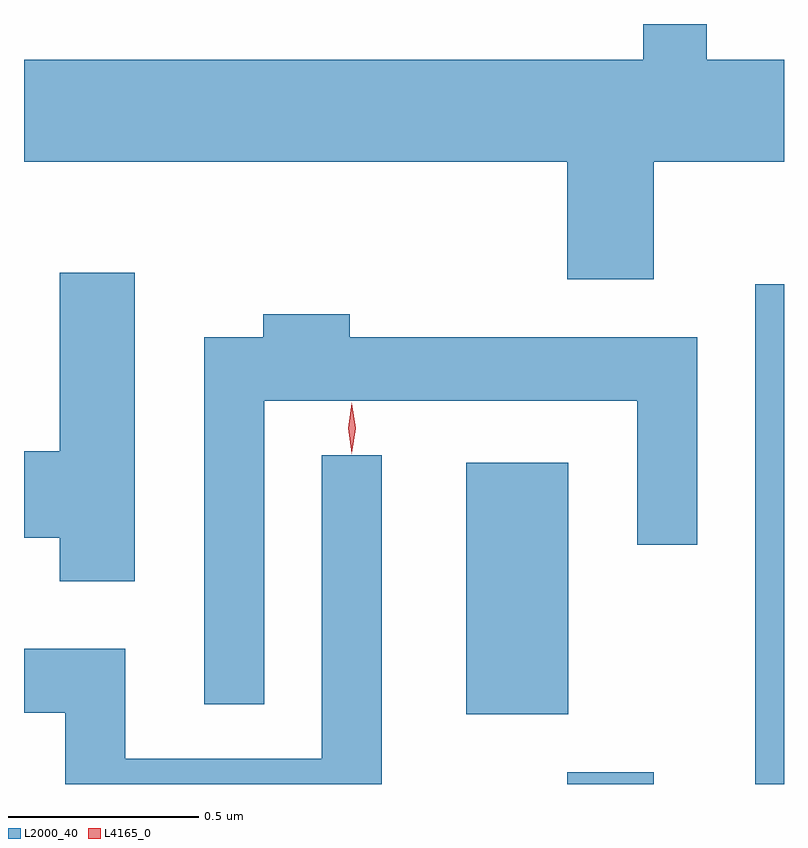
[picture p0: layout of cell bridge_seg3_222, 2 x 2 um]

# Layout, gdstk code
import gdstk
lib = gdstk.Library(unit=1e-6, precision=1e-09)
def R(c, l, rs):  # rectangles x0, y0, x1, y1
    for r in rs: c.add(gdstk.rectangle(r[:2], r[2:], *l))
def P(c, l, *ps):  # polygons
    for p in ps: c.add(gdstk.Polygon(p, *l))
L2000_40 = (2000, 40)
L4165_0 = (4165, 0)

bridge_seg3_222 = lib.new_cell('bridge_seg3_222')
R(bridge_seg3_222, L2000_40, [(917.781,1151.018,918.009,1151.049), (918.276,1151.018,918.352,1152.333), (917.516,1151.201,917.784,1151.864)])
P(bridge_seg3_222, L2000_40, [(918.009,1152.656),(918.352,1152.656),(918.352,1152.924),(918.149,1152.924),(918.149,1153.018),(917.981,1153.018),(917.981,1152.924),(916.352,1152.924),(916.352,1152.656),(917.781,1152.656),(917.781,1152.346),(918.009,1152.346)],
  [(916.644,1152.364),(916.446,1152.364),(916.446,1151.894),(916.352,1151.894),(916.352,1151.666),(916.446,1151.666),(916.446,1151.551),(916.644,1151.551)],
  [(916.984,1152.026),(917.966,1152.026),(917.966,1151.648),(918.124,1151.648),(918.124,1152.194),(917.209,1152.194),(917.209,1152.254),(916.981,1152.254),(916.981,1152.194),(916.826,1152.194),(916.826,1151.228),(916.984,1151.228)],
  [(917.294,1151.883),(917.136,1151.883),(917.136,1151.084),(916.619,1151.084),(916.619,1151.374),(916.352,1151.374),(916.352,1151.206),(916.461,1151.206),(916.461,1151.018),(917.294,1151.018)])
P(bridge_seg3_222, L4165_0, [(917.215,1151.887),(917.214,1151.888),(917.205,1151.954),(917.214,1152.02),(917.215,1152.021),(917.215,1152.02),(917.225,1151.954),(917.215,1151.888)])

lib.write_gds('bridge_seg3_222.gds')
